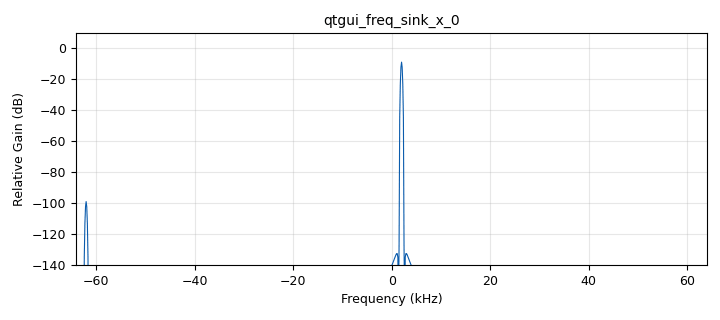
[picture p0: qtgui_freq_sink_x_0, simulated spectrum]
options:
  parameters:
    generate_options: qt_gui
    id: sampling_rate_2
    output_language: python
    title: Not titled yet
  states: {}

blocks:
- name: samp_rate
  id: variable
  parameters:
    value: '32000'
  states: {}
- name: analog_sig_source_x_0
  id: analog_sig_source_x
  parameters:
    amp: '1'
    freq: '1000'
    offset: '0'
    phase: '0'
    samp_rate: samp_rate
    type: complex
    waveform: analog.GR_COS_WAVE
  states: {}
- name: blocks_throttle_0
  id: blocks_throttle
  parameters:
    samples_per_second: 4*samp_rate
    type: complex
  states: {}
- name: qtgui_freq_sink_x_0
  id: qtgui_freq_sink_x
  parameters:
    bw: 4*samp_rate
    fc: '0'
    fftsize: '1024'
    type: complex
  states: {}
- name: rational_resampler_xxx_0
  id: rational_resampler_xxx
  parameters:
    decim: '1'
    interp: '2'
    type: ccc
  states: {}

connections:
- [analog_sig_source_x_0, '0', rational_resampler_xxx_0, '0']
- [blocks_throttle_0, '0', qtgui_freq_sink_x_0, '0']
- [rational_resampler_xxx_0, '0', blocks_throttle_0, '0']

metadata:
  file_format: 1
